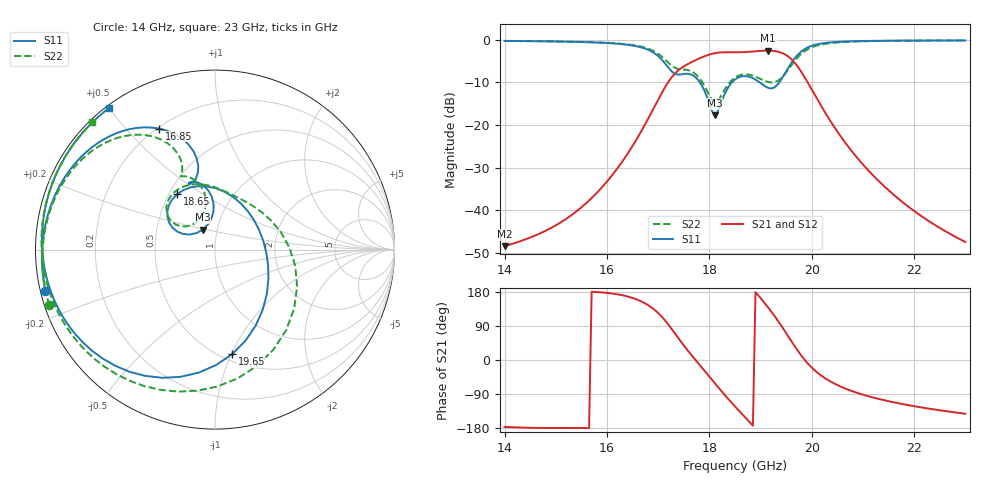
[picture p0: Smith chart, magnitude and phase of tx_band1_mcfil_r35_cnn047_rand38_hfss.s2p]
! Touchstone file exported from HFSS 3D Layout Design 2026.1.0
!  File:  D:/Work/SIM/ADS_AUTO_SIM/projects/RFSOC_RF/TX_Fillter.aedt
!  Generated:  03:06:14 AM Aug 31, 2026
!  Design:  TX_BAND1_MCFIL_R35_CNN047
!  Project:  TX_Fillter
# GHz S MA R 50.000000
! Terminal data exported
! Port[1] = Port1
! Port[2] = Port2
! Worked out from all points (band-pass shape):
!   181 points, 14 GHz to 23 GHz, reference 50 ohm
!   highest |S21| = -2.52 dB at 19.15 GHz (marker M1); lowest = -48.5 dB at 14 GHz (marker M2)
!   |S21| within 3 dB of the highest: 17.6 GHz to 19.68 GHz (2.075 GHz wide, 11.1 % of centre)
!   lowest |S11| = -17.7 dB at 18.1 GHz (marker M3), VSWR 1.30, Z = 42.7 + j9.68 ohm
!   |S11| at or under -10 dB: 17.82 GHz to 18.44 GHz (623.8 MHz wide, 3.44 % of centre); 18.98 GHz to 19.36 GHz (380.1 MHz wide, 1.98 % of centre)
!   |S22| runs from -14.7 to -0.1 dB; largest |S21 - S12| = 1.3e-14
!   S11 on the Smith chart (normalised r, x): 14 GHz: 0.01, -0.12; 16.85 GHz: 0.21, +0.62; 18.65 GHz: 0.55, +0.40; 19.65 GHz: 0.56, -1.01; 23 GHz: 0.01, +0.50
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14  0.9727 -166.4  0.003769 -176.5  0.003769 -176.5  0.974 -161.4
15.5  0.9446 163.4  0.01078 -179.4  0.01078 -179.4  0.9479 169.1
16.25  0.8967 141.8  0.03382 172.2  0.03382 172.2  0.9046 148.5
16.85  0.7426 114.8  0.1339 140.6  0.1339 140.6  0.7697 123.7
17  0.6449 106.5  0.1992 124.0  0.1992 124.0  0.6856 116.3
17.2  0.4713 101.4  0.322 93.1  0.322 93.1  0.5371 110.8
17.45  0.3934 111.7  0.4668 47.2  0.4668 47.2  0.4515 115.0
17.8  0.3268 96.0  0.6047 -11.3  0.6047 -11.3  0.3584 102.3
18.1  0.1304 121.2  0.6967 -60.4  0.6967 -60.4  0.1842 122.6
18.3  0.2324 154.5  0.7161 -92.4  0.7161 -92.4  0.2621 147.5
18.5  0.3427 140.6  0.7158 -122.4  0.7158 -122.4  0.361 138.6
18.65  0.3743 124.0  0.7178 -144.1  0.7178 -144.1  0.3919 125.7
18.9  0.3416 89.2  0.7346 179.0  0.7346 179.0  0.3701 101.0
19.15  0.2726 37.7  0.7478 138.2  0.7478 138.2  0.3199 72.2
19.4  0.3402 -29.0  0.7092 91.4  0.7092 91.4  0.3543 26.3
19.65  0.59 -80.6  0.5532 39.6  0.5532 39.6  0.5507 -36.8
19.85  0.7726 -112.4  0.3726 2.1  0.3726 2.1  0.729 -80.2
20  0.8536 -130.7  0.2604 -20.2  0.2604 -20.2  0.8175 -104.5
20.25  0.9194 -152.8  0.1433 -47.3  0.1433 -47.3  0.8961 -133.1
20.55  0.9514 -170.7  0.07563 -69.3  0.07563 -69.3  0.9376 -155.4
21.5  0.9787 156.4  0.01709 -108.8  0.01709 -108.8  0.9753 166.3
23  0.9852 126.6  0.00422 -141.8  0.00422 -141.8  0.9847 133.9
